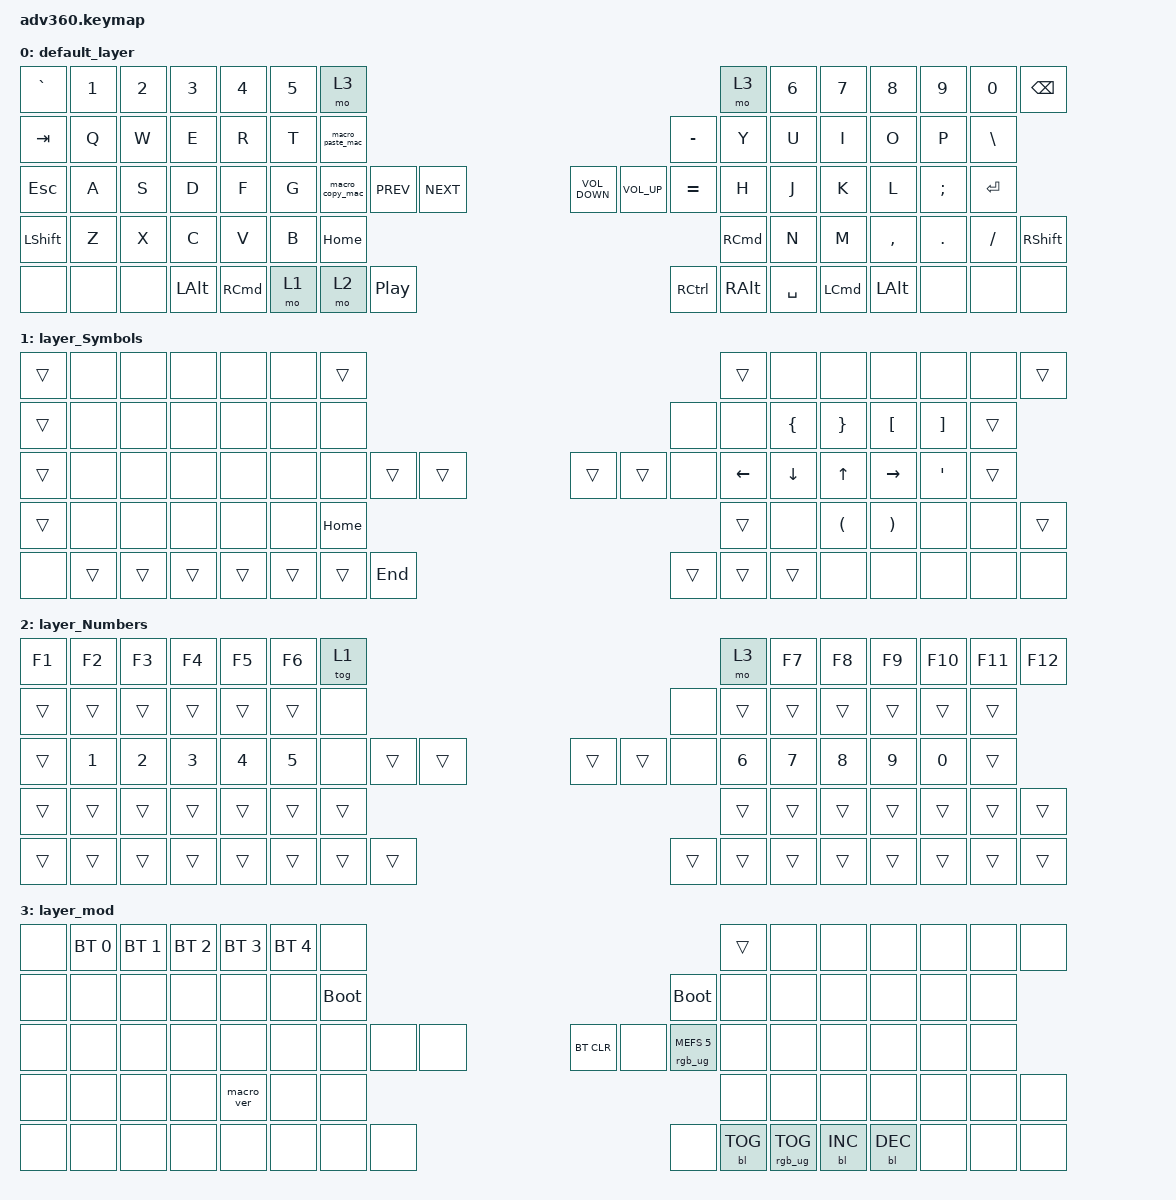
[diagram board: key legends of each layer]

/*
 * Copyright (c) 2020 The ZMK Contributors
 *
 * SPDX-License-Identifier: MIT
 */


/* THIS FILE WAS GENERATED!
 *
 * This file was generated automatically. You may or may not want to
 * edit it directly.
 */

#include <behaviors.dtsi>
#include <dt-bindings/zmk/keys.h>
#include <dt-bindings/zmk/bt.h>
#include <dt-bindings/zmk/rgb.h>
#include <dt-bindings/zmk/backlight.h>

/ {
  behaviors {
    #include "macros.dtsi"
    #include "version.dtsi"

    hm: homerow_mods {
        compatible = "zmk,behavior-hold-tap";
        label = "HOMEROW_MODS";
        #binding-cells = <2>;
        tapping-term-ms = <200>;
        quick_tap_ms = <175>;
        flavor = "tap-preferred";
        bindings = <&kp>, <&kp>;
    };
  };

    keymap {
        compatible = "zmk,keymap";


        default_layer {
            bindings = <
 &kp GRAVE  &kp N1  &kp N2        &kp N3    &kp N4  &kp N5                       &mo 3                                                                                        &mo 3  &kp N6    &kp N7        &kp N8   &kp N9    &kp N0  &kp BACKSPACE
   &kp TAB   &kp Q   &kp W         &kp E     &kp R   &kp T            &macro_paste_mac                                                                                    &kp MINUS   &kp Y     &kp U         &kp I    &kp O     &kp P       &kp BSLH
   &kp ESC   &kp A   &kp S         &kp D     &kp F   &kp G             &macro_copy_mac  &kp C_PREV        &kp C_NEXT                  &kp C_VOLUME_DOWN  &kp C_VOLUME_UP  &kp EQUAL   &kp H     &kp J         &kp K    &kp L  &kp SEMI      &kp ENTER
 &kp LSHFT   &kp Z   &kp X         &kp C     &kp V   &kp B                                                  &kp HOME                           &kp RCMD                               &kp N     &kp M     &kp COMMA  &kp DOT  &kp FSLH      &kp RSHFT
     &none   &none   &none  &kp LEFT_ALT  &kp RCMD                               &mo 1       &mo 2  &kp C_PLAY_PAUSE                  &kp RIGHT_CONTROL    &kp RIGHT_ALT  &kp SPACE          &kp LCMD  &kp LEFT_ALT    &none     &none          &none
            >;
        };

        layer_Symbols {
            bindings = <
 &trans   &none   &none   &none   &none   &none            &trans                                                    &trans           &none                 &none                  &none             &none              &none  &trans
 &trans   &none   &none   &none   &none   &none             &none                                                     &none           &none        &kp LEFT_BRACE        &kp RIGHT_BRACE  &kp LEFT_BRACKET  &kp RIGHT_BRACKET  &trans
 &trans   &none   &none   &none   &none   &none             &none  &trans    &trans                  &trans  &trans   &none  &kp LEFT_ARROW        &kp DOWN_ARROW           &kp UP_ARROW   &kp RIGHT_ARROW   &kp SINGLE_QUOTE  &trans
 &trans   &none   &none   &none   &none   &none                            &kp HOME                  &trans                           &none  &kp LEFT_PARENTHESIS  &kp RIGHT_PARENTHESIS             &none              &none  &trans
  &none  &trans  &trans  &trans  &trans                    &trans  &trans   &kp END                  &trans  &trans  &trans                                 &none                  &none             &none              &none   &none
            >;
        };

        layer_Numbers {
            bindings = <
 &kp F1        &kp F2        &kp F3        &kp F4        &kp F5        &kp F6            &tog 1                                                   &mo 3        &kp F7        &kp F8        &kp F9       &kp F10       &kp F11  &kp F12
 &trans        &trans        &trans        &trans        &trans        &trans             &none                                                   &none        &trans        &trans        &trans        &trans        &trans   &trans
 &trans  &kp NUMBER_1  &kp NUMBER_2  &kp NUMBER_3  &kp NUMBER_4  &kp NUMBER_5             &none  &trans  &trans                  &trans  &trans   &none  &kp NUMBER_6  &kp NUMBER_7  &kp NUMBER_8  &kp NUMBER_9  &kp NUMBER_0   &trans
 &trans        &trans        &trans        &trans        &trans        &trans                            &trans                  &trans                        &trans        &trans        &trans        &trans        &trans   &trans
 &trans        &trans        &trans        &trans        &trans                          &trans  &trans  &trans                  &trans  &trans  &trans                      &trans        &trans        &trans        &trans   &trans
            >;
        };

        layer_mod {
            bindings = <
  &none  &bt BT_SEL 0  &bt BT_SEL 1  &bt BT_SEL 2  &bt BT_SEL 3  &bt BT_SEL 4                  &none                                                                          &trans   &none       &none       &none   &none   &none   &none
  &none         &none         &none         &none         &none         &none            &bootloader                                                                     &bootloader   &none       &none       &none   &none   &none   &none
  &none         &none         &none         &none         &none         &none                  &none   &none   &none                  &bt BT_CLR       &none  &rgb_ug RGB_MEFS_CMD 5   &none       &none       &none   &none   &none   &none
  &none         &none         &none         &none    &macro_ver         &none                                  &none                       &none                                       &none       &none       &none   &none   &none   &none
  &none         &none         &none         &none         &none                                &none   &none   &none                       &none  &bl BL_TOG         &rgb_ug RGB_TOG          &bl BL_INC  &bl BL_DEC   &none   &none   &none
            >;
        };

    };
};
